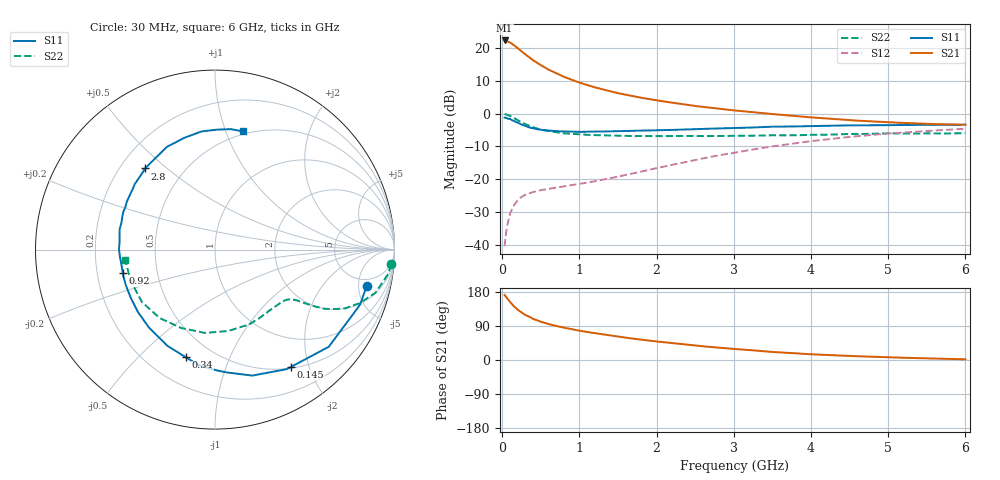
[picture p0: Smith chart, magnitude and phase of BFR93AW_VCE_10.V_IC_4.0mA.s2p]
! Infineon Technologies  Discrete & RF Semiconductors
! BFR93AW
! VCE =  10. V,  IC =  4.0 mA
! Common Emitter S-Parameters:  Nov 2015
# GHz  S  MA  R  50
!  f  S11  S21  S12  S22
! GHz  MAG  ANG  MAG  ANG  MAG  ANG  MAG  ANG
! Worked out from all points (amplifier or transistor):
!   206 points, 30 MHz to 6 GHz, reference 50 ohm
!   highest |S21| = 22.3 dB at 30 MHz (marker M1)
!   |S21| within 3 dB of that: start of sweep to 233 MHz
!   unconditionally stable (mu >= 1): 1.01 GHz to 2.23 GHz
!   at 200 MHz: K = 0.26, MSG = 23.2 dB, |S12| = -26.4 dB
!   at 1.56 GHz: K = 1.10, MAG = 10.5 dB, |S12| = -18.9 dB
!   at 6 GHz: K = 0.92, MSG = 0.6 dB, |S12| = -4.6 dB
!   S11 on the Smith chart (normalised r, x): 30 MHz: 3.80, -6.24; 145 MHz: 0.52, -1.72; 340 MHz: 0.36, -0.70; 920 MHz: 0.31, -0.11; 2.8 GHz: 0.30, +0.42; 6 GHz: 0.47, +1.15
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0.03  0.8686 -13.4  13.08 171.6  0.0095 82.7  0.9853 -4.8
0.05  0.865 -20.7  12.93 165.9  0.0155 79.4  0.9744 -8.0
0.1  0.8337 -40.5  12.23 153.2  0.0296 70.5  0.9256 -15.1
0.145  0.7787 -57.0  11.2 143.0  0.0387 62.2  0.8649 -19.8
0.15  0.7769 -59.0  11.11 141.7  0.0398 61.5  0.8585 -20.4
0.2  0.7321 -73.5  9.991 132.6  0.0479 55.5  0.795 -24.3
0.24  0.689 -84.0  9.116 126.5  0.0526 52.1  0.7478 -26.3
0.3  0.6498 -98.2  8.005 118.5  0.058 48.2  0.6901 -28.5
0.34  0.6217 -105.1  7.385 115.0  0.0602 46.9  0.6613 -29.1
0.4  0.5982 -116.3  6.521 108.4  0.0636 45.1  0.6183 -30.1
0.5  0.5691 -130.3  5.487 100.8  0.068 43.6  0.5701 -31.1
0.56  0.5567 -136.7  5.001 97.4  0.0699 43.7  0.5522 -31.5
0.7  0.5407 -150.3  4.113 89.8  0.0745 45.4  0.5193 -32.5
0.92  0.5303 -165.7  3.215 80.4  0.0816 49.3  0.4897 -34.7
1.04  0.5286 -172.5  2.875 76.0  0.0862 51.7  0.4792 -36.5
1.5  0.5432 168.0  2.054 61.7  0.1094 61.1  0.4607 -44.9
2.02  0.5596 150.9  1.581 48.5  0.149 67.3  0.4547 -56.8
2.8  0.5965 130.7  1.192 32.6  0.2307 68.3  0.4563 -76.5
3.1  0.607 123.6  1.093 27.8  0.265 66.4  0.4581 -84.5
4.1  0.648 103.4  0.86 14.3  0.3917 56.4  0.4758 -116.5
5.1  0.6694 87.8  0.73 6.5  0.5063 42.7  0.4983 -147.4
6  0.6767 76.5  0.676 1.8  0.5883 30.5  0.5036 -173.2
